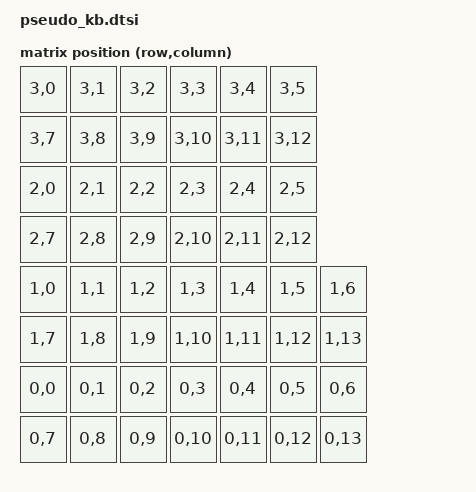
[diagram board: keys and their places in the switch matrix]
#include <dt-bindings/zmk/matrix_transform.h>

// Shared hardware-independent definitions.
// GPIO-using nodes (kscan, encoder, sensors) live in the per-half overlays
// so the dongle (XIAO BLE) never encounters &pro_micro references it can't resolve.

/ {
    chosen {
        zmk,kscan = &kscan0;
        zmk,matrix-transform = &default_transform;
    };

    default_transform: matrix_transform {
        compatible = "zmk,matrix-transform";
        columns = <14>;  // 7 per half
        rows = <4>;      // R0 (utils+thumbs), R1 (bottom), R2 (home), R3 (top)

        // Per-half column layout (left overlay: C0→col0 … C6→col6):
        //        C0     C1     C2     C3     C4     C5      C6
        // R3:    outer  pinky  ring   mid    index  inner   ---
        // R2:    outer  pinky  ring   mid    index  inner   ---
        // R1:    outer  pinky  ring   mid    index  inner   enc_push
        // R0:    outer  pinky  ring   mid    index  th_home th_far
        //
        // Right overlay lists columns reversed (C5→col7, C4→col8, … C0→col12, C6→col13)
        // so that col7 = right inner and col12 = right outer, mirroring the left side.

        map = <
            // Row 3 — top letter row (12 keys)
            RC(3,0)  RC(3,1)  RC(3,2)  RC(3,3)  RC(3,4)  RC(3,5)
            RC(3,7)  RC(3,8)  RC(3,9)  RC(3,10) RC(3,11) RC(3,12)
            // Row 2 — home row (12 keys)
            RC(2,0)  RC(2,1)  RC(2,2)  RC(2,3)  RC(2,4)  RC(2,5)
            RC(2,7)  RC(2,8)  RC(2,9)  RC(2,10) RC(2,11) RC(2,12)
            // Row 1 — bottom row + encoder push (14 keys)
            RC(1,0)  RC(1,1)  RC(1,2)  RC(1,3)  RC(1,4)  RC(1,5)  RC(1,6)
            RC(1,7)  RC(1,8)  RC(1,9)  RC(1,10) RC(1,11) RC(1,12) RC(1,13)
            // Row 0 — utils row + thumbfan (14 keys)
            RC(0,0)  RC(0,1)  RC(0,2)  RC(0,3)  RC(0,4)  RC(0,5)  RC(0,6)
            RC(0,7)  RC(0,8)  RC(0,9)  RC(0,10) RC(0,11) RC(0,12) RC(0,13)
        >;
    };
};
